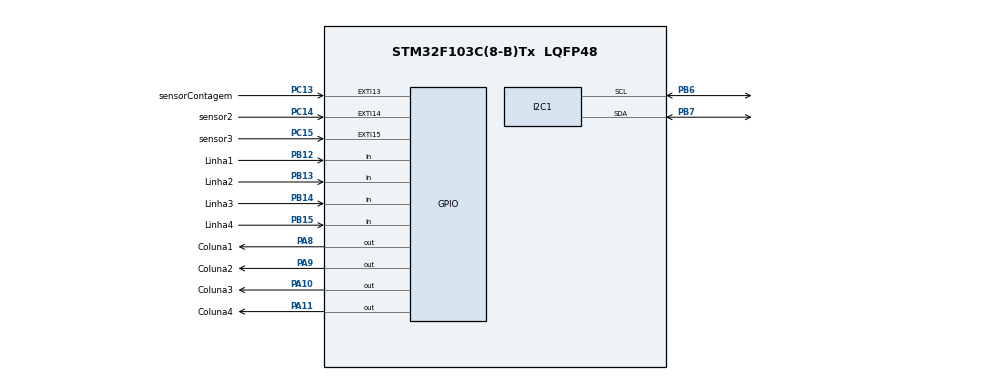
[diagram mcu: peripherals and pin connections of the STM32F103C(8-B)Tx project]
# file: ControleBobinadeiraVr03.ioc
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I2C1.I2C_Mode=I2C_Fast
Mcu.Family=STM32F1
Mcu.Name=STM32F103C(8-B)Tx
Mcu.Package=LQFP48
NVIC.EXTI15_10_IRQn=true\:0\:0\:false\:false\:true\:true\:true\:true
NVIC.PriorityGroup=NVIC_PRIORITYGROUP_4
PA10.GPIO_Label=Coluna3
PA10.GPIO_PuPd=GPIO_PULLUP
PA10.PinState=GPIO_PIN_SET
PA10.Signal=GPIO_Output
PA11.GPIO_Label=Coluna4
PA11.GPIO_PuPd=GPIO_PULLUP
PA11.PinState=GPIO_PIN_SET
PA11.Signal=GPIO_Output
PA8.GPIO_Label=Coluna1
PA8.GPIO_ModeDefaultOutputPP=GPIO_MODE_OUTPUT_PP
PA8.GPIO_PuPd=GPIO_PULLUP
PA8.PinState=GPIO_PIN_SET
PA8.Signal=GPIO_Output
PA9.GPIO_Label=Coluna2
PA9.GPIO_ModeDefaultOutputPP=GPIO_MODE_OUTPUT_PP
PA9.GPIO_PuPd=GPIO_PULLUP
PA9.PinState=GPIO_PIN_SET
PA9.Signal=GPIO_Output
PB12.GPIO_Label=Linha1
PB12.GPIO_PuPd=GPIO_PULLUP
PB12.Signal=GPIO_Input
PB13.GPIO_Label=Linha2
PB13.GPIO_PuPd=GPIO_PULLUP
PB13.Signal=GPIO_Input
PB14.GPIO_Label=Linha3
PB14.GPIO_PuPd=GPIO_PULLUP
PB14.Signal=GPIO_Input
PB15.GPIO_Label=Linha4
PB15.GPIO_PuPd=GPIO_PULLUP
PB15.Signal=GPIO_Input
PB6.Mode=I2C
PB6.Signal=I2C1_SCL
PB7.Mode=I2C
PB7.Signal=I2C1_SDA
PC13-TAMPER-RTC.GPIO_Label=sensorContagem
PC13-TAMPER-RTC.GPIO_ModeDefaultEXTI=GPIO_MODE_IT_FALLING
PC13-TAMPER-RTC.GPIO_PuPd=GPIO_PULLUP
PC13-TAMPER-RTC.Signal=GPXTI13
PC14-OSC32_IN.GPIO_Label=sensor2
PC14-OSC32_IN.GPIO_ModeDefaultEXTI=GPIO_MODE_IT_FALLING
PC14-OSC32_IN.GPIO_PuPd=GPIO_PULLUP
PC14-OSC32_IN.Signal=GPXTI14
PC15-OSC32_OUT.GPIO_Label=sensor3
PC15-OSC32_OUT.GPIO_ModeDefaultEXTI=GPIO_MODE_IT_FALLING
PC15-OSC32_OUT.GPIO_PuPd=GPIO_PULLUP
PC15-OSC32_OUT.Signal=GPXTI15
ProjectManager.HeapSize=0x200
ProjectManager.StackSize=0x400
ProjectManager.TargetToolchain=STM32CubeIDE
RCC.APB1Freq_Value=8000000
RCC.APB2Freq_Value=8000000
board=custom

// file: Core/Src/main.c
/* USER CODE BEGIN Header */
/**
  ******************************************************************************
  * @file           : main.c
  * @brief          : Main program body
  ******************************************************************************
  * @attention
  *
  * Copyright (c) 2024 STMicroelectronics.
  * All rights reserved.
  *
  * This software is licensed under terms that can be found in the LICENSE file
  * in the root directory of this software component.
  * If no LICENSE file comes with this software, it is provided AS-IS.
  *
  ******************************************************************************
  */
/* USER CODE END Header */
#include "main.h"

/* USER CODE BEGIN Includes */
#include "fonts.h"
#include "ssd1306.h"
#include "math.h"
#include "stdlib.h"

/* USER CODE END Includes */

I2C_HandleTypeDef hi2c1;

/* USER CODE BEGIN PV */
int cont = 64;
char valor[10];
int teclaAnterior = 255;
int teclaAtual = 0;
int confereTecla = 0;

/* USER CODE END PV */

void SystemClock_Config(void);
static void MX_GPIO_Init(void);
static void MX_I2C1_Init(void);
/* USER CODE BEGIN PFP */
int verifica_teclado();
void contagemEspiras();
int le_valor();
int obtem_tecla();

/* USER CODE END PFP */

int main(void)
{

  /* MCU Configuration--------------------------------------------------------*/

  /* Reset of all peripherals, Initializes the Flash interface and the Systick. */
  HAL_Init();

  /* Configure the system clock */
  SystemClock_Config();

  /* Initialize all configured peripherals */
  MX_GPIO_Init();
  MX_I2C1_Init();
  /* USER CODE BEGIN 2 */
  MX_GPIO_Init();
  MX_I2C1_Init();
  /* USER CODE BEGIN 2 */
  SSD1306_Init();

  SSD1306_GotoXY(0,0);
  SSD1306_Puts("PROTOPLACAS",&Font_11x18,1);
  SSD1306_GotoXY(0,30);
  SSD1306_Puts("BOBINADEIRA",&Font_11x18,1);
  SSD1306_UpdateScreen();

  HAL_Delay(3000);

  SSD1306_Clear();
  SSD1306_GotoXY(13,0);
  SSD1306_Puts("ENROLANDO",&Font_11x18,1);
  SSD1306_GotoXY(36,20);
  SSD1306_Puts("ESPIRAS:",&Font_7x10,1);

  /* USER CODE END 2 */

  /* Infinite loop */
  /* USER CODE BEGIN WHILE */
  //contagemEspiras(); //Impreime na tela
  while (1)
  {

	  contagemEspiras(); //Imprime na tela
	  cont = le_valor();

/*
			// faz a leitura das teclas
	  	  	teclaAtual = verifica_teclado();
			if(teclaAtual != 255){ //verifica se alguma tecla foi pressionada

				teclaAtual = verifica_teclado();
				if (teclaAtual != teclaAnterior){
					cont = teclaAtual;
				}
			} else {
				cont = 111;
			}
			teclaAnterior = teclaAtual;
*/

    /* USER CODE END WHILE */

  }
}

void SystemClock_Config(void)
{
  RCC_OscInitTypeDef RCC_OscInitStruct = {0};
  RCC_ClkInitTypeDef RCC_ClkInitStruct = {0};

  /** Initializes the RCC Oscillators according to the specified parameters
  * in the RCC_OscInitTypeDef structure.
  */
  RCC_OscInitStruct.OscillatorType = RCC_OSCILLATORTYPE_HSI;
  RCC_OscInitStruct.HSIState = RCC_HSI_ON;
  RCC_OscInitStruct.HSICalibrationValue = RCC_HSICALIBRATION_DEFAULT;
  RCC_OscInitStruct.PLL.PLLState = RCC_PLL_NONE;
  if (HAL_RCC_OscConfig(&RCC_OscInitStruct) != HAL_OK)
  {
    Error_Handler();
  }

  /** Initializes the CPU, AHB and APB buses clocks
  */
  RCC_ClkInitStruct.ClockType = RCC_CLOCKTYPE_HCLK|RCC_CLOCKTYPE_SYSCLK
                              |RCC_CLOCKTYPE_PCLK1|RCC_CLOCKTYPE_PCLK2;
  RCC_ClkInitStruct.SYSCLKSource = RCC_SYSCLKSOURCE_HSI;
  RCC_ClkInitStruct.AHBCLKDivider = RCC_SYSCLK_DIV1;
  RCC_ClkInitStruct.APB1CLKDivider = RCC_HCLK_DIV1;
  RCC_ClkInitStruct.APB2CLKDivider = RCC_HCLK_DIV1;

  if (HAL_RCC_ClockConfig(&RCC_ClkInitStruct, FLASH_LATENCY_0) != HAL_OK)
  {
    Error_Handler();
  }
}

static void MX_I2C1_Init(void)
{

  hi2c1.Instance = I2C1;
  hi2c1.Init.ClockSpeed = 400000;
  hi2c1.Init.DutyCycle = I2C_DUTYCYCLE_2;
  hi2c1.Init.OwnAddress1 = 0;
  hi2c1.Init.AddressingMode = I2C_ADDRESSINGMODE_7BIT;
  hi2c1.Init.DualAddressMode = I2C_DUALADDRESS_DISABLE;
  hi2c1.Init.OwnAddress2 = 0;
  hi2c1.Init.GeneralCallMode = I2C_GENERALCALL_DISABLE;
  hi2c1.Init.NoStretchMode = I2C_NOSTRETCH_DISABLE;
  if (HAL_I2C_Init(&hi2c1) != HAL_OK)
  {
    Error_Handler();
  }

}

static void MX_GPIO_Init(void)
{
  GPIO_InitTypeDef GPIO_InitStruct = {0};

  /* GPIO Ports Clock Enable */
  __HAL_RCC_GPIOC_CLK_ENABLE();
  __HAL_RCC_GPIOB_CLK_ENABLE();
  __HAL_RCC_GPIOA_CLK_ENABLE();

  /*Configure GPIO pin Output Level */
  HAL_GPIO_WritePin(GPIOA, Coluna1_Pin|Coluna2_Pin|Coluna3_Pin|Coluna4_Pin, GPIO_PIN_SET);

  /*Configure GPIO pins : sensorContagem_Pin sensor2_Pin sensor3_Pin */
  GPIO_InitStruct.Pin = sensorContagem_Pin|sensor2_Pin|sensor3_Pin;
  GPIO_InitStruct.Mode = GPIO_MODE_IT_FALLING;
  GPIO_InitStruct.Pull = GPIO_PULLUP;
  HAL_GPIO_Init(GPIOC, &GPIO_InitStruct);

  /*Configure GPIO pins : Linha1_Pin Linha2_Pin Linha3_Pin Linha4_Pin */
  GPIO_InitStruct.Pin = Linha1_Pin|Linha2_Pin|Linha3_Pin|Linha4_Pin;
  GPIO_InitStruct.Mode = GPIO_MODE_INPUT;
  GPIO_InitStruct.Pull = GPIO_PULLUP;
  HAL_GPIO_Init(GPIOB, &GPIO_InitStruct);

  /*Configure GPIO pins : Coluna1_Pin Coluna2_Pin Coluna3_Pin Coluna4_Pin */
  GPIO_InitStruct.Pin = Coluna1_Pin|Coluna2_Pin|Coluna3_Pin|Coluna4_Pin;
  GPIO_InitStruct.Mode = GPIO_MODE_OUTPUT_PP;
  GPIO_InitStruct.Pull = GPIO_PULLUP;
  GPIO_InitStruct.Speed = GPIO_SPEED_FREQ_LOW;
  HAL_GPIO_Init(GPIOA, &GPIO_InitStruct);

  /* EXTI interrupt init*/
  HAL_NVIC_SetPriority(EXTI15_10_IRQn, 0, 0);
  HAL_NVIC_EnableIRQ(EXTI15_10_IRQn);

}

/* USER CODE BEGIN 4 */
void HAL_GPIO_EXTI_Callback(uint16_t GPIO_Pin)
{

  if (GPIO_Pin == GPIO_PIN_13)
  {
	  cont++;
	  for(int j= 0; j<10000;j++);
  }
}

int le_valor(){
	const int MAXIMO = 5;
	int bufferTeclado[MAXIMO + 1];
	int i = 0;
	int valor = 0;
	int exp = 1;

	int tecla = obtem_tecla();
	bufferTeclado[0] = 255;

	while(tecla != 15){ //coloca valor digitado no buffer
		if ((tecla < 10)&(tecla >=0)&(i<MAXIMO)){
			bufferTeclado[i] = tecla;
			i++;
			bufferTeclado[i] = 255; //byte seguinte tem marcador do fim da string
		}
		else if ((tecla == 14)&(i>0)){ // apaga 1 caracter do buffer ao pressionar '*'
			i--;
			bufferTeclado[i]= 255;
		}
		tecla = obtem_tecla();
	}
	//CONVERTE A STRING NO buffer EM VALOR INTEIRO
	//valor do exp = 1
	for (;i>0;i--){
		i--;
		valor += bufferTeclado[i] * exp;
		exp *= 10;
	}

	return valor;

}

int obtem_tecla(){ //Aguarda até obter o codigo da tecla pressionada

	teclaAnterior = 255;
	while(teclaAnterior == 255){
		// faz a leitura das teclas
		teclaAtual = verifica_teclado();
		if(teclaAtual != 255){ //verifica se alguma tecla foi pressionada

			teclaAtual = verifica_teclado();
			if (teclaAtual != teclaAnterior){
				cont = teclaAtual;
				teclaAnterior = teclaAtual;
			}
		}
	}
	return cont;
}

int verifica_teclado(){

	int selecaoLinha = 255;

	//inicialmente deixa todas as linhas do teclado em nível alto (condição de inicio da varredura)
	HAL_GPIO_WritePin(GPIOA, GPIO_PIN_8,1); //Restaura a LINHA1
	HAL_GPIO_WritePin(GPIOA, GPIO_PIN_9,1); //Restaura a LINHA2
	HAL_GPIO_WritePin(GPIOA, GPIO_PIN_10,1); //Restaura a LINHA3
	HAL_GPIO_WritePin(GPIOA, GPIO_PIN_11,1); //Restaura a LINHA4

	HAL_GPIO_WritePin(GPIOA, GPIO_PIN_8,0); //Aciona a COLUNA4 do Teclado
	selecaoLinha = ~(GPIOB->IDR);
	if (selecaoLinha & 0b0001000000000000) {return 1;}
	if (selecaoLinha & 0b0010000000000000) {return 4;}
	if (selecaoLinha & 0b0100000000000000) {return 7;}
	if (selecaoLinha & 0b1000000000000000) {return 14;}
	HAL_GPIO_WritePin(GPIOA, GPIO_PIN_8,1); //Restaura a LINHA1

	HAL_GPIO_WritePin(GPIOA, GPIO_PIN_9,0); //Aciona a COLUNA3 do Teclado
	selecaoLinha = ~(GPIOB->IDR);
	if (selecaoLinha & 0b0001000000000000) return 2;
	if (selecaoLinha & 0b0010000000000000) return 5;
	if (selecaoLinha & 0b0100000000000000) return 8;
	if (selecaoLinha & 0b1000000000000000) return 0;  //retorna o valor 0 como codigo de Teclado
	HAL_GPIO_WritePin(GPIOA, GPIO_PIN_9,1); //Restaura a LINHA2

	HAL_GPIO_WritePin(GPIOA, GPIO_PIN_10,0); //Aciona a COLUNA2 do Teclado
	selecaoLinha = ~(GPIOB->IDR);
	if (selecaoLinha & 0b0001000000000000) return 3;
	if (selecaoLinha & 0b0010000000000000) return 6;
	if (selecaoLinha & 0b0100000000000000) return 9;
	if (selecaoLinha & 0b1000000000000000) return 15;
	HAL_GPIO_WritePin(GPIOA, GPIO_PIN_10,1); //Restaura a LINHA3

	HAL_GPIO_WritePin(GPIOA, GPIO_PIN_11,0); //Aciona a COLUNA1 do Teclado
	selecaoLinha = ~(GPIOB->IDR);
	if (selecaoLinha & 0b0001000000000000) return 10;
	if (selecaoLinha & 0b0010000000000000) return 11;
	if (selecaoLinha & 0b0100000000000000) return 12;
	if (selecaoLinha & 0b1000000000000000) return 13;
	HAL_GPIO_WritePin(GPIOA, GPIO_PIN_11,1); //Restaura a LINHA4

	return 255; //se nenhuma Tecla é pressionada retorna o valor 255;

}

void contagemEspiras(){

	itoa(cont, valor, 10);
	SSD1306_GotoXY (0, 32);
	SSD1306_Puts ("             ", &Font_16x26, 1);
	SSD1306_UpdateScreen();
	if(cont < 10) {
		SSD1306_GotoXY (53, 32);  // 1 DIGIT
	}
	else if (cont < 100 ) {
		SSD1306_GotoXY (45, 32);  // 2 DIGITS
	}
	else if (cont < 1000 ) {
		SSD1306_GotoXY (37, 32);  // 3 DIGITS
	}
	else {
		SSD1306_GotoXY (30, 32);  // 4 DIGIS
	}
	SSD1306_Puts (valor, &Font_16x26, 1);
	SSD1306_UpdateScreen();
	HAL_Delay (20);

}
/* USER CODE END 4 */

void Error_Handler(void)
{
  __disable_irq();
  while (1)
  {
  }
}
